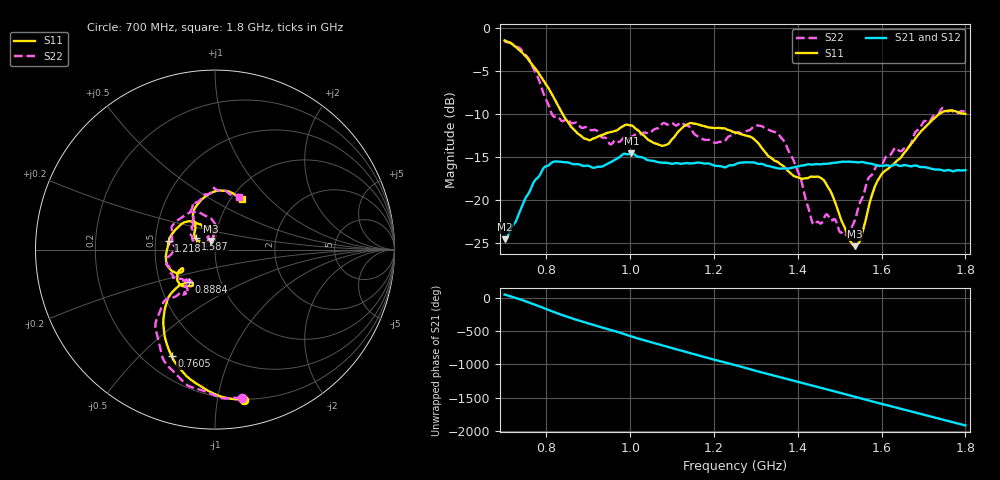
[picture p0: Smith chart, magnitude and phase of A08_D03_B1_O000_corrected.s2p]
! Created with skrf 1.9.0 (http://scikit-rf.org).
# Hz S RI R 50.0
!freq ReS11 ImS11 ReS21 ImS21 ReS12 ImS12 ReS22 ImS22
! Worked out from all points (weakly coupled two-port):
!   1601 points, 700 MHz to 1.8 GHz, reference 50 ohm
!   highest |S21| = -14.55 dB at 1.002 GHz (marker M1); lowest = -24.5 dB at 701.4 MHz (marker M2)
!   lowest |S11| = -25.4 dB at 1.535 GHz (marker M3), VSWR 1.11, Z = 47.4 + j4.56 ohm
!   |S11| at or under -10 dB: 838.7 MHz to 1.737 GHz (898.2 MHz wide, 69.7 % of centre)
!   |S22| runs from -24.2 to -1.5 dB; largest |S21 - S12| = 0.0036
!   S11 on the Smith chart (normalised r, x): 700 MHz: 0.20, -1.19; 760.5 MHz: 0.31, -0.63; 888.4 MHz: 0.71, -0.27; 1.218 GHz: 0.59, +0.06; 1.587 GHz: 0.80, +0.10; 1.8 GHz: 1.12, +0.70
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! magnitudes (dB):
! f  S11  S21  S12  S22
! 700 MHz  -1.4  -24.5  -24.3  -1.5
! 701.4 MHz  -1.4  -24.5  -24.2  -1.5
! 760.5 MHz  -3.9  -18.9  -18.8  -3.8
! 814.8 MHz  -7.8  -15.6  -15.6  -10.1
! 883.6 MHz  -12.6  -15.9  -15.8  -11.6
! 888.4 MHz  -12.8  -16.0  -15.9  -11.6
! 953 MHz  -12.1  -15.6  -15.6  -13.5
! 1.002 GHz  -11.3  -14.6  -14.7  -12.7
! 1.067 GHz  -13.5  -15.6  -15.5  -11.6
! 1.141 GHz  -11.0  -15.7  -15.7  -11.5
! 1.218 GHz  -11.6  -16.1  -16.1  -13.2
! 1.25 GHz  -12.1  -15.9  -15.8  -12.3
! 1.355 GHz  -15.7  -16.3  -16.2  -12.4
! 1.402 GHz  -17.4  -16.0  -16.1  -16.9
! 1.434 GHz  -17.3  -15.9  -15.8  -22.4
! 1.467 GHz  -18.1  -15.8  -15.7  -21.7
! 1.517 GHz  -24.0  -15.5  -15.5  -24.1
! 1.535 GHz  -25.4  -15.6  -15.6  -22.5
! 1.587 GHz  -18.1  -15.9  -15.9  -16.1
! 1.617 GHz  -16.3  -16.0  -15.9  -14.9
! 1.738 GHz  -10.0  -16.4  -16.5  -9.8
! 1.8 GHz  -9.9  -16.5  -16.5  -9.8
